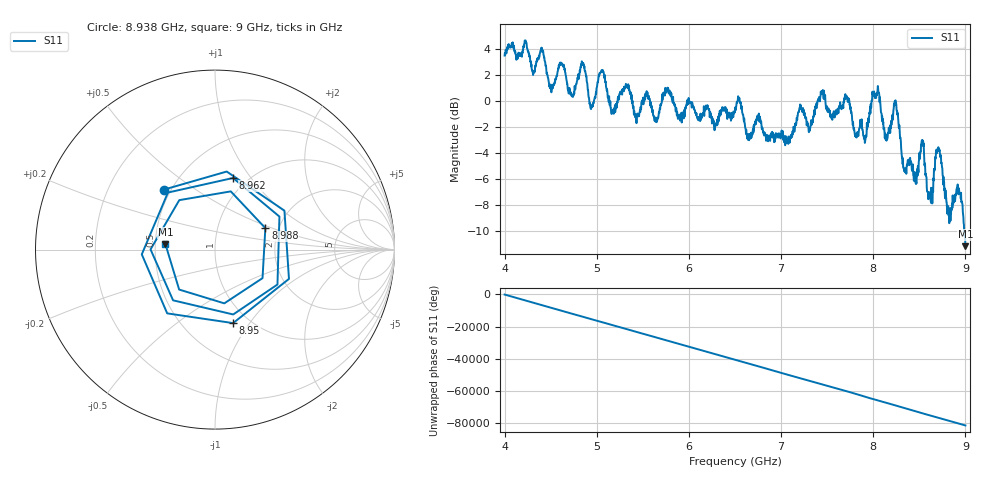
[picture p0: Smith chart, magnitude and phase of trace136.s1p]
! Created with skrf 1.8.0 (http://scikit-rf.org).
# Hz S RI R 50.0
!freq ReS11 ImS11
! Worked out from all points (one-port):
!   1601 points, 4 GHz to 9 GHz, reference 50 ohm
!   lowest |S11| = -11.1 dB at 9 GHz (marker M1), VSWR 1.77, Z = 28.3 + j1.77 ohm
!   |S11| at or under -10 dB: 8.986504 GHz to end of sweep
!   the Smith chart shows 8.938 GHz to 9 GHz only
!   S11 on the Smith chart (normalised r, x): 8.938 GHz: 0.46, +0.38; 8.95 GHz: 0.84, -0.84; 8.962 GHz: 0.86, +0.82; 8.988 GHz: 1.70, +0.45; 9 GHz: 0.57, +0.04
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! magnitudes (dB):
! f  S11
! 4 GHz  3.5
! 4.509 GHz  0.6
! 4.625 GHz  2.8
! 4.731 GHz  0.4
! 4.85 GHz  2.9
! 4.944 GHz  -0.4
! 5.053 GHz  2.3
! 5.162 GHz  -1.0
! 5.25 GHz  0.5
! 5.875 GHz  -1.1
! 6.5 GHz  -0.9
! 7.125 GHz  -2.3
! 7.441 GHz  0.6
! 7.75 GHz  -0.6
! 7.909 GHz  -3.2
! 8.047 GHz  0.8
! 8.147 GHz  -2.8
! 8.244 GHz  -0.2
! 8.375 GHz  -4.5
! 8.531 GHz  -3.2
! 8.619 GHz  -7.2
! 8.706 GHz  -3.6
! 8.819 GHz  -8.8
! 8.938 GHz  -7.1
! 8.95 GHz  -7.5
! 8.962 GHz  -7.7
! 8.988 GHz  -10.3
! 9 GHz  -11.1
